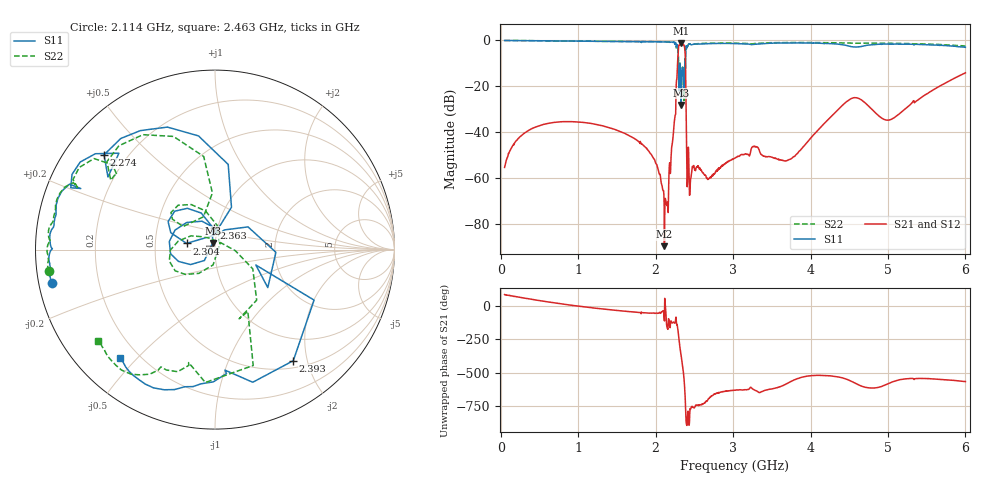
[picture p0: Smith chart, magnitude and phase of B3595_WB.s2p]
! Matrix data file written by TouchstoneData, EPCOS AG
! FILENAME: "B3595.WB.s2p"
! COMMENT: "(B3595.WB.s2p)"
! INFO: nport=2, nfreq=1601
! DATE: "Thu Jan 31 16:29:15 2013"
! USER: "Adrian Ma"
! port | pin | signal
!  1  |  2  |  IN
!  2  |  5  |  OUT
# MHZ S RI R 50
! freq  reS11 imS11  reS21 imS21  reS12 imS12  reS22 imS22
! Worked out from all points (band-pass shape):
!   1601 points, 50 MHz to 6 GHz, reference 50 ohm
!   highest |S21| = -1.21 dB at 2.33 GHz (marker M1); lowest = -89.4 dB at 2.114 GHz (marker M2)
!   |S21| within 3 dB of the highest: 2.293 GHz to 2.377 GHz (84.53 MHz wide, 3.62 % of centre)
!   lowest |S11| = -28.0 dB at 2.33 GHz (marker M3), VSWR 1.08, Z = 48.6 + j3.66 ohm
!   |S11| at or under -10 dB: 2.295 GHz to 2.377 GHz (82.46 MHz wide, 3.53 % of centre); 2.382928 GHz to 2.386418 GHz (3.491 MHz wide, 0.146 % of centre)
!   |S22| runs from -27.9 to 0.0 dB; largest |S21 - S12| = 0.0015
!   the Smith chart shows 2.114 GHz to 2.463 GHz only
!   S11 on the Smith chart (normalised r, x): 2.114 GHz: 0.04, -0.10; 2.274 GHz: 0.12, +0.36; 2.304 GHz: 0.72, +0.05; 2.363 GHz: 0.96, +0.24; 2.393 GHz: 0.61, -1.77; 2.463 GHz: 0.13, -0.45
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50  0.9915 -0.0805  0.000135 0.00173  0.000133 0.00174  0.9913 -0.0975
380.9688  0.8157 -0.5571  0.00718 0.00911  0.00718 0.00912  0.7377 -0.6586
1042.906  0.0221 -0.9608  0.0166 -0.00117  0.0166 -0.00116  -0.1898 -0.9422
1727.156  -0.6903 -0.6389  0.00516 -0.00525  0.00516 -0.00525  -0.7801 -0.5346
2035.812  -0.871 -0.3142  0.000866 -0.00122  0.000861 -0.00122  -0.9057 -0.2368
2113.906  -0.9072 -0.1835  -1.27e-05 -3.13e-05  -1.5e-05 -4.42e-05  -0.9226 -0.1193
2139.938  -0.9151 -0.1229  -0.000173 -0.000215  -0.000165 -0.000218  -0.9283 -0.0619
2169.688  -0.9251 -0.0386  -0.000109 -0.000817  -0.000116 -0.000823  -0.9349 0.0126
2273.812  -0.6181 0.5281  -0.1103 -0.0874  -0.1101 -0.0873  -0.5808 0.3863
2303.562  -0.1586 0.0346  -0.0573 0.7979  -0.0575 0.7965  -0.1778 0.1285
2329.594  -0.0126 0.0375  0.8507 -0.1814  0.8494 -0.1811  0.0273 0.0295
2363.062  -0.00547 0.1219  -0.7661 -0.2397  -0.7646 -0.2398  -0.0511 0.0701
2392.812  0.4362 -0.6189  -0.0311 -0.0285  -0.031 -0.0285  -0.0537 -0.7404
2426.281  -0.2837 -0.7809  -0.00324 -0.00153  -0.00323 -0.00155  -0.4653 -0.6948
2463.469  -0.5292 -0.6043  0.00106 -0.000752  0.00107 -0.000751  -0.6515 -0.5092
3025  -0.8499 -0.0417  6.01e-05 0.00277  5.44e-05 0.00276  -0.8705 -0.0279
3281.594  -0.8241 0.0577  1.4e-05 0.00499  2.06e-05 0.00498  -0.8548 0.0497
3694.375  -0.847 0.2381  -0.00182 0.00162  -0.00181 0.00162  -0.8751 0.2147
4017.906  -0.7907 0.3764  -0.00764 -0.00258  -0.00761 -0.00258  -0.8366 0.3281
4553.406  -0.548 0.4697  -0.0483 0.0294  -0.0483 0.0293  -0.7261 0.4797
5010.812  -0.573 0.6018  -0.0142 0.0119  -0.0143 0.0118  -0.6152 0.612
6000  0.0843 0.7052  -0.1778 0.0871  -0.1777 0.0869  -0.0921 0.7483
